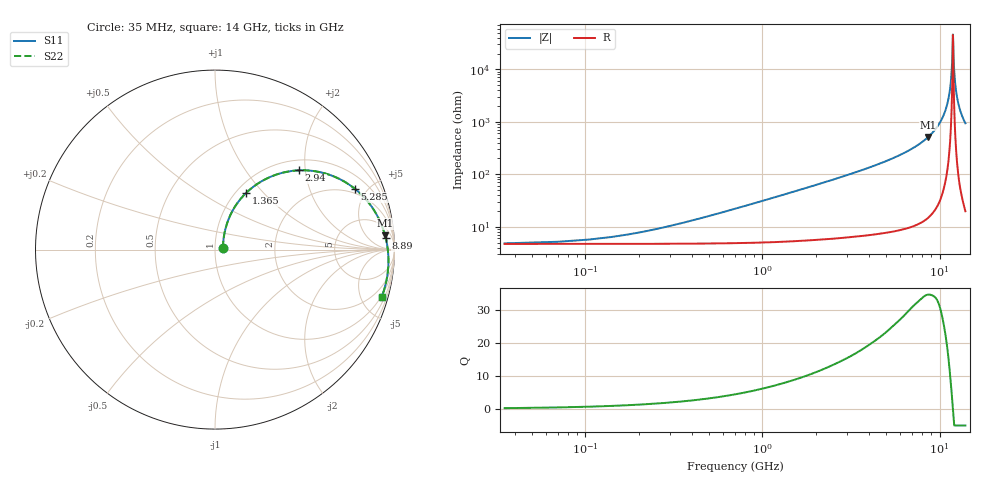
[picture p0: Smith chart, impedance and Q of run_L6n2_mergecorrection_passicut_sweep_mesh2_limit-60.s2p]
#  Hz  S  RI  R  50
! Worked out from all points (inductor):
!   400 points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, 35 MHz to 14 GHz, reference 50 ohm
!   read as one part in series: L = 4.86 nH near 490 MHz
!   highest Q = 34.6 at 8.645 GHz (marker M1), where L = 9.48 nH
!   self-resonance near 11.9 GHz
!   S11 on the Smith chart (normalised r, x): 35 MHz: 1.09, +0.02; 1.365 GHz: 1.11, +0.80; 2.94 GHz: 1.23, +1.85; 5.285 GHz: 1.70, +4.16; 8.89 GHz: 14, +20; 14 GHz: 0.91, -7.05
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3.5e7  0.044 0.00905  0.954 -0.0105  0.954 -0.0105  0.044 0.00905
5.95e8  0.0689 0.1515  0.9203 -0.1705  0.9203 -0.1705  0.0689 0.1514
1.365e9  0.1723 0.3146  0.8075 -0.3396  0.8075 -0.3396  0.1723 0.3145
2.38e9  0.3638 0.4248  0.613 -0.4597  0.613 -0.4597  0.3637 0.4247
2.94e9  0.4679 0.4417  0.508 -0.4819  0.508 -0.4819  0.4678 0.4416
4.69e9  0.7206 0.379  0.253 -0.4383  0.253 -0.4383  0.7205 0.379
5.285e9  0.78 0.3382  0.1928 -0.4041  0.1927 -0.4041  0.7799 0.3382
7.035e9  0.8956 0.2038  0.075 -0.2894  0.075 -0.2894  0.8955 0.2039
8.645e9  0.9473 0.0807  0.021 -0.1848  0.0209 -0.1848  0.9472 0.0808
8.89e9  0.9519 0.0626  0.016 -0.1695  0.016 -0.1696  0.9518 0.0627
9.345e9  0.9586 0.0296  0.00855 -0.1419  0.0085 -0.1419  0.9586 0.0297
1.0955e10  0.966 -0.0809  -0.00164 -0.0501  -0.00172 -0.0501  0.966 -0.0808
1.141e10  0.9642 -0.1104  -0.000701 -0.0259  -0.000784 -0.0259  0.9642 -0.1103
1.169e10  0.9624 -0.1282  0.00063 -0.0114  0.000542 -0.0114  0.9624 -0.128
1.1795e10  0.9616 -0.1348  0.00126 -0.00603  0.00117 -0.00602  0.9616 -0.1346
1.19e10  0.9607 -0.1414  0.00196 -0.000723  0.00187 -0.000719  0.9607 -0.1412
1.1935e10  0.9604 -0.1436  0.00221 0.00104  0.00212 0.00104  0.9604 -0.1434
1.204e10  0.9593 -0.1501  0.003 0.00628  0.0029 0.00629  0.9594 -0.1499
1.211e10  0.9586 -0.1544  0.00356 0.00976  0.00346 0.00977  0.9587 -0.1542
1.2425e10  0.955 -0.1736  0.00643 0.0252  0.00633 0.0252  0.9551 -0.1734
1.302e10  0.9466 -0.2088  0.0136 0.0535  0.0135 0.0535  0.9467 -0.2086
1.4e10  0.9283 -0.2642  0.0294 0.0971  0.0293 0.0971  0.9284 -0.2639
